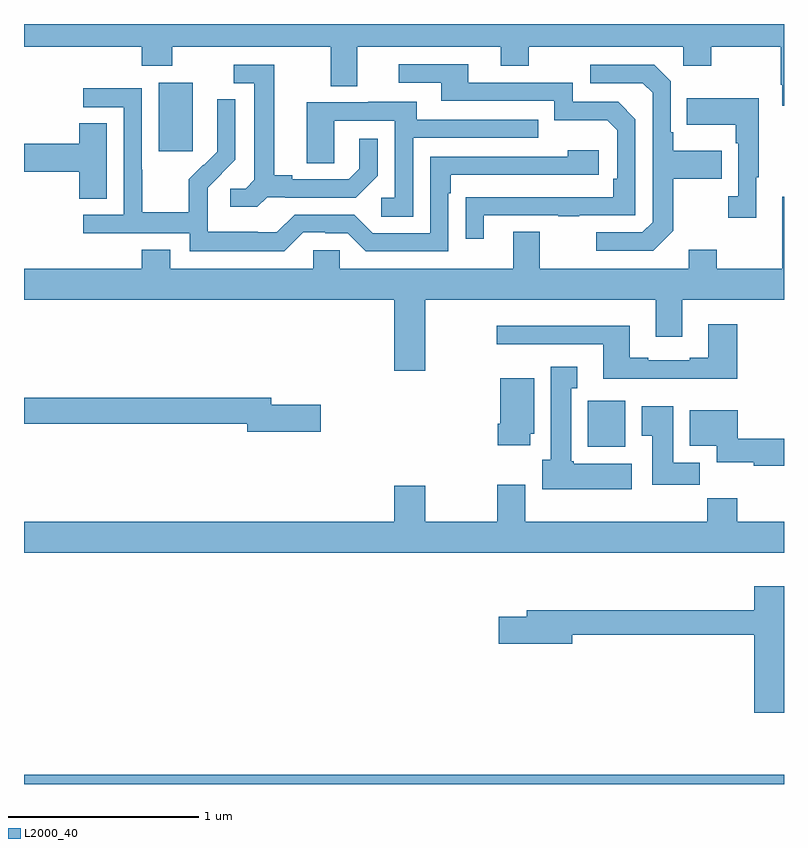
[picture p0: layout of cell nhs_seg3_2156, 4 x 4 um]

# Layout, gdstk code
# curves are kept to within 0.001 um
import gdstk
lib = gdstk.Library(unit=1e-6, precision=1e-09)
def R(c, l, rs):  # rectangles x0, y0, x1, y1
    for r in rs: c.add(gdstk.rectangle(r[:2], r[2:], *l))
def P(c, l, *ps):  # polygons
    for p in ps: c.add(gdstk.Polygon(p, *l))
L2000_40 = (2000, 40)

nhs_seg3_2156 = lib.new_cell('nhs_seg3_2156')
R(nhs_seg3_2156, L2000_40, [(223,666.4,227,666.448), (225.968,668.174,226.165,668.416), (223.709,669.729,223.888,670.09)])
P(nhs_seg3_2156, L2000_40, [(227,670.4),(223,670.4),(223,670.28),(223.619,670.28),(223.619,670.181),(223.779,670.181),(223.779,670.28),(224.615,670.28),(224.615,670.072),(224.755,670.072),(224.755,670.28),(225.509,670.28),(225.509,670.181),(225.657,670.181),(225.657,670.28),(226.47,670.28),(226.47,670.181),(226.617,670.181),(226.617,670.28),(226.984,670.28),(226.984,670.081),(226.991,670.081),(226.991,669.969),(227,669.969)],
  [(225.421,669.393),(225.811,669.393),(225.811,669.388),(225.923,669.388),(225.923,669.393),(226.218,669.393),(226.218,669.9),(226.128,669.99),(225.888,669.99),(225.888,670.092),(225.337,670.092),(225.337,670.188),(224.973,670.188),(224.973,670.092),(225.197,670.092),(225.197,669.996),(225.792,669.996),(225.792,669.893),(226.069,669.893),(226.122,669.84),(226.122,669.586),(226.102,669.586),(226.102,669.489),(225.325,669.488),(225.325,669.27),(225.421,669.27)],
  [(226.417,669.313),(226.417,669.586),(226.673,669.586),(226.673,669.733),(226.417,669.733),(226.417,669.829),(226.404,669.829),(226.404,670.098),(226.317,670.185),(225.981,670.185),(225.981,670.089),(226.257,670.089),(226.308,670.038),(226.308,669.357),(226.254,669.303),(226.011,669.303),(226.011,669.207),(226.311,669.207)],
  [(224.28,669.489),(224.374,669.489),(224.374,669.486),(224.746,669.486),(224.862,669.602),(224.862,669.796),(224.765,669.796),(224.765,669.639),(224.708,669.582),(224.413,669.582),(224.413,669.605),(224.317,669.605),(224.317,670.185),(224.103,670.185),(224.103,670.089),(224.213,670.089),(224.213,669.581),(224.166,669.534),(224.085,669.534),(224.085,669.437),(224.228,669.437)],
  [(224.469,669.303),(224.585,669.303),(224.585,669.3),(224.703,669.3),(224.799,669.204),(225.234,669.204),(225.234,669.509),(225.247,669.509),(225.247,669.606),(226.024,669.606),(226.024,669.736),(225.863,669.736),(225.863,669.702),(225.138,669.702),(225.138,669.3),(224.835,669.3),(224.739,669.396),(224.424,669.396),(224.331,669.303),(224.231,669.303),(224.231,669.307),(223.968,669.307),(223.968,669.441),(223.966,669.441),(223.966,669.538),(224.112,669.686),(224.112,670.004),(224.016,670.004),(224.016,669.85),(224.018,669.85),(224.018,669.728),(223.947,669.657),(223.944,669.66),(223.867,669.583),(223.867,669.409),(223.623,669.409),(223.623,669.632),(223.62,669.632),(223.62,670.062),(223.311,670.062),(223.311,669.963),(223.524,669.963),(223.524,669.396),(223.311,669.396),(223.311,669.3),(223.872,669.3),(223.872,669.203),(224.369,669.203)],
  [(226.855,669.593),(226.867,669.593),(226.867,670.009),(226.489,670.009),(226.489,669.869),(226.746,669.869),(226.746,669.773),(226.758,669.773),(226.758,669.494),(226.707,669.494),(226.707,669.381),(226.855,669.381)],
  [(225.048,669.801),(225.707,669.801),(225.707,669.897),(225.067,669.897),(225.067,669.991),(224.813,669.991),(224.813,669.987),(224.489,669.987),(224.489,669.667),(224.634,669.667),(224.634,669.891),(224.952,669.891),(224.952,669.486),(224.88,669.486),(224.88,669.385),(225.048,669.385)],
  [(223.435,669.878),(223.292,669.878),(223.292,669.77),(223,669.77),(223,669.623),(223.292,669.623),(223.292,669.481),(223.435,669.481)],
  [(225.112,668.948),(226.325,668.948),(226.325,668.754),(226.465,668.754),(226.465,668.948),(227,668.948),(227,669.49),(226.991,669.49),(226.991,669.112),(226.647,669.112),(226.647,669.211),(226.499,669.211),(226.499,669.112),(225.715,669.112),(225.715,669.307),(225.575,669.307),(225.575,669.112),(224.661,669.112),(224.661,669.21),(224.523,669.21),(224.523,669.112),(223.771,669.112),(223.771,669.211),(223.619,669.211),(223.619,669.112),(223,669.112),(223,668.948),(224.948,668.948),(224.948,668.574),(225.112,668.574)],
  [(226.754,668.821),(226.601,668.821),(226.601,668.644),(226.505,668.644),(226.505,668.631),(226.285,668.631),(226.285,668.644),(226.189,668.644),(226.189,668.812),(225.489,668.812),(225.489,668.715),(226.049,668.715),(226.049,668.534),(226.754,668.534)],
  [(226.198,668.086),(225.894,668.086),(225.894,668.1),(225.88,668.1),(225.88,668.483),(225.913,668.483),(225.913,668.596),(225.773,668.596),(225.773,668.106),(225.728,668.106),(225.728,667.952),(226.198,667.952)],
  [(225.664,668.244),(225.685,668.244),(225.685,668.536),(225.506,668.536),(225.506,668.296),(225.494,668.296),(225.494,668.184),(225.664,668.184)],
  [(224.563,668.396),(224.302,668.396),(224.302,668.432),(223,668.432),(223,668.296),(224.174,668.296),(224.174,668.254),(224.563,668.254)],
  [(226.556,668.092),(226.417,668.092),(226.417,668.389),(226.25,668.389),(226.25,668.233),(226.307,668.233),(226.307,667.974),(226.556,667.974)],
  [(227,668.216),(226.756,668.216),(226.756,668.368),(226.505,668.368),(226.505,668.18),(226.646,668.18),(226.646,668.093),(226.842,668.093),(226.842,668.074),(227,668.074)],
  [(227,667.78),(226.754,667.78),(226.754,667.904),(226.597,667.904),(226.597,667.78),(225.637,667.78),(225.637,667.975),(225.49,667.975),(225.49,667.78),(225.112,667.78),(225.112,667.969),(224.948,667.969),(224.948,667.78),(223,667.78),(223,667.616),(227,667.616)],
  [(227,667.441),(226.844,667.441),(226.844,667.315),(225.647,667.315),(225.647,667.281),(225.498,667.281),(225.498,667.139),(225.886,667.139),(225.886,667.186),(226.844,667.186),(226.844,666.774),(227,666.774)])

lib.write_gds('nhs_seg3_2156.gds')
